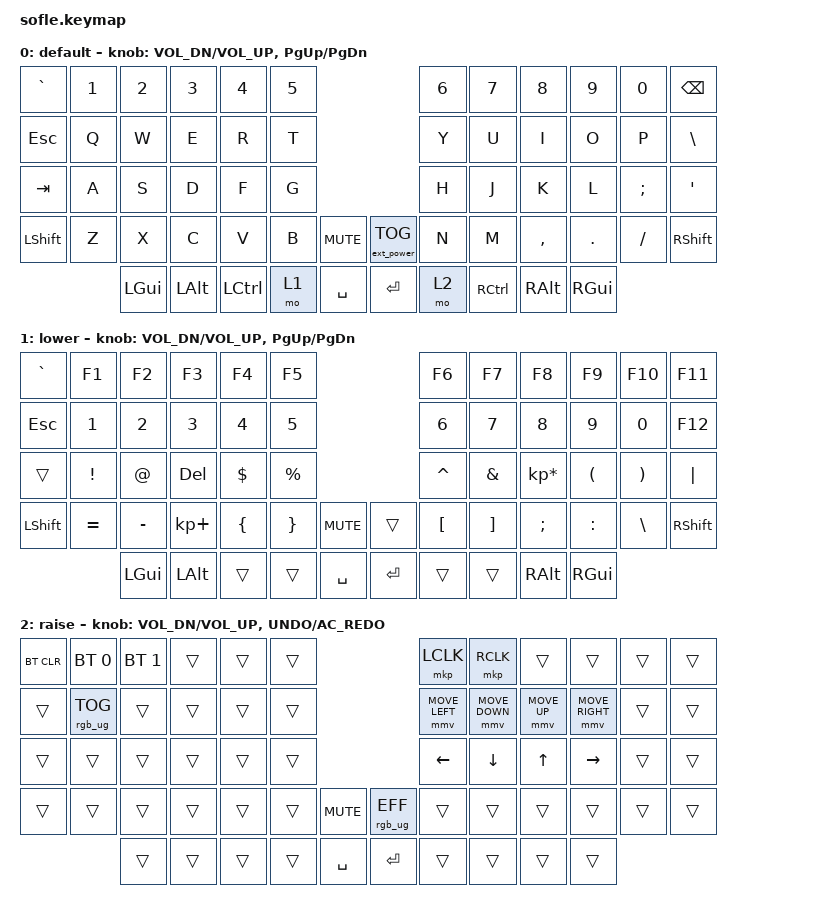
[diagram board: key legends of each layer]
/*
 * Copyright (c) 2020 The ZMK Contributors
 *
 * SPDX-License-Identifier: MIT
 */

#include <behaviors.dtsi>
#include <dt-bindings/zmk/ext_power.h>
#include <dt-bindings/zmk/keys.h>
#include <dt-bindings/zmk/pointing.h>
#include <dt-bindings/zmk/pointing.h>
#include <dt-bindings/zmk/rgb.h>
#include <dt-bindings/zmk/bt.h>

/ {
    keymap {
        compatible = "zmk,keymap";

        default {
            // ------------------------------------------------------------------------------------------------------------
            // |  `    |  1  |  2  |  3   |  4   |  5   |                         |  6   |  7    |  8    |  9   |   0   |       |
            // |  ESC  |  Q  |  W  |  E   |  R   |  T   |                         |  Y   |  U    |  I    |  O   |   P   | BKSPC |
            // |  TAB  |  A  |  S  |  D   |  F   |  G   |                         |  H   |  J    |  K    |  L   |   ;   |   '   |
            // | SHIFT |  Z  |  X  |  C   |  V   |  B   |  MUTE  |        | ExtPw |  N   |  M    |  ,    |  .   |   /   | SHIFT |
            //               | GUI | ALT  | CTRL | LOWER|  ENTER |        | SPACE | RAISE| CTRL  | ALT   | GUI  |

            bindings = <
&kp GRAVE  &kp N1  &kp N2    &kp N3    &kp N4     &kp N5                                   &kp N6  &kp N7     &kp N8     &kp N9    &kp N0    &kp BACKSPACE
&kp ESC    &kp Q   &kp W     &kp E     &kp R      &kp T                                    &kp Y   &kp U      &kp I      &kp O     &kp P     &kp BACKSLASH
&kp TAB    &kp A   &kp S     &kp D     &kp F      &kp G                                    &kp H   &kp J      &kp K      &kp L     &kp SEMI  &kp APOS
&kp LSHFT  &kp Z   &kp X     &kp C     &kp V      &kp B   &kp K_MUTE    &ext_power EP_TOG  &kp N   &kp M      &kp COMMA  &kp DOT   &kp FSLH  &kp RSHFT
                   &kp LGUI  &kp LALT  &kp LCTRL  &mo 1   &kp SPACE     &kp ENTER          &mo 2   &kp RCTRL  &kp RALT   &kp RGUI
            >;

            sensor-bindings =
                <&inc_dec_kp C_VOL_DN C_VOL_UP>,
                <&inc_dec_kp PG_UP PG_DN>;
        };

        lower {
            // TODO: Some binds are waiting for shifted keycode support.
            // ------------------------------------------------------------------------------------------------------------
            // |       |  F1 |  F2 |  F3  |  F4  |  F5  |                   |  F6  |  F7   |  F8   |  F9  |  F10  |  F11  |
            // | `     |   1 |   2 |   3  |   4  |   5  |                   |   6  |   7   |   8   |   9  |    0  |  F12  |
            // |       |  !  |  @  |  #   |  $   |  %   |                   |  ^   |  &    |  *    |  (   |   )   |   |   |
            // |       |  =  |  -  |  +   |  {   |  }   |        |  |       |  [   |  ]    |  ;    |  :   |   \   |       |
            //               |     |      |      |      |        |  |       |      |       |       |      |

            bindings = <
&kp GRAVE       &kp F1     &kp F2        &kp F3       &kp F4    &kp F5                              &kp F6     &kp F7    &kp F8           &kp F9         &kp F10   &kp F11
&kp ESC         &kp N1     &kp N2        &kp N3       &kp N4    &kp N5                              &kp N6     &kp N7    &kp N8           &kp N9         &kp N0    &kp F12
&trans          &kp EXCL   &kp AT        &kp DEL      &kp DLLR  &kp PRCNT                           &kp CARET  &kp AMPS  &kp KP_MULTIPLY  &kp LPAR       &kp RPAR  &kp PIPE
&kp LEFT_SHIFT  &kp EQUAL  &kp MINUS     &kp KP_PLUS  &kp LBRC  &kp RBRC   &kp K_MUTE    &trans     &kp LBKT   &kp RBKT  &kp SEMI         &kp COLON      &kp BSLH  &kp RIGHT_SHIFT
                           &kp LEFT_GUI  &kp LALT     &trans    &trans     &kp SPACE     &kp ENTER  &trans     &trans    &kp RALT         &kp RIGHT_GUI
            >;

            sensor-bindings =
                <&inc_dec_kp C_VOL_DN C_VOL_UP>,
                <&inc_dec_kp PG_UP PG_DN>;
        };

        raise {
            bindings = <
&bt BT_CLR &bt BT_SEL 0     &bt BT_SEL 1  &trans  &trans  &trans                                 &mkp LCLK       &mkp RCLK       &trans        &trans           &trans  &trans
&trans     &rgb_ug RGB_TOG  &trans          &trans  &trans  &trans                                 &mmv MOVE_LEFT  &mmv MOVE_DOWN  &mmv MOVE_UP  &mmv MOVE_RIGHT  &trans  &trans
&trans     &trans           &trans          &trans  &trans  &trans                                 &kp LEFT        &kp DOWN        &kp UP        &kp RIGHT_ARROW  &trans  &trans
&trans     &trans           &trans          &trans  &trans  &trans  &kp K_MUTE    &rgb_ug RGB_EFF  &trans          &trans          &trans        &trans           &trans  &trans
                            &trans          &trans  &trans  &trans  &kp SPACE     &kp ENTER        &trans          &trans          &trans        &trans
            >;

            sensor-bindings =
                <&inc_dec_kp C_VOL_DN C_VOLUME_UP>,
                <&inc_dec_kp K_UNDO C_AC_REDO>;
        };
    };
};
